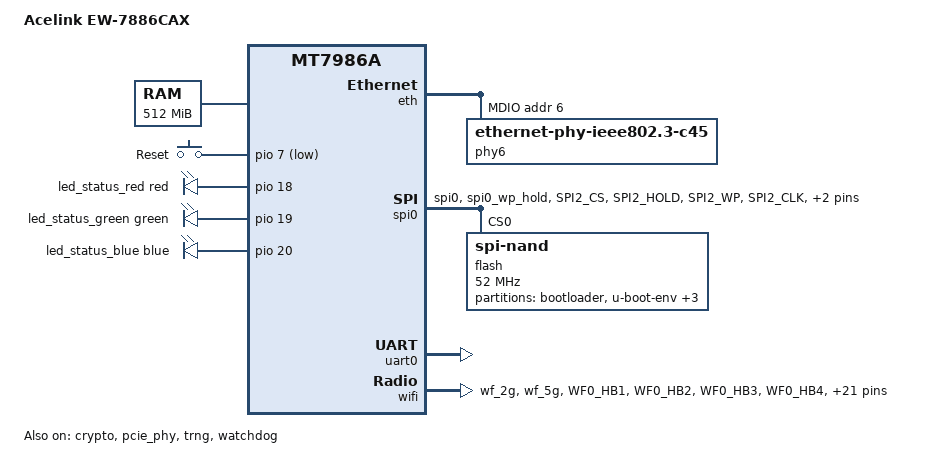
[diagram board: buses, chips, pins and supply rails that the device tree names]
// SPDX-License-Identifier: GPL-2.0-only OR MIT

/dts-v1/;
#include <dt-bindings/input/input.h>
#include <dt-bindings/gpio/gpio.h>
#include <dt-bindings/leds/common.h>

#include "mt7986a.dtsi"

/ {
	compatible = "acelink,ew-7886cax", "mediatek,mt7986a";
	model = "Acelink EW-7886CAX";

	aliases {
		serial0 = &uart0;
		led-boot = &led_status_blue;
		led-running = &led_status_green;
		led-upgrade = &led_status_red;
		led-failsafe = &led_status_red;
	};

	chosen {
		stdout-path = "serial0:115200n8";
	};

	memory@40000000 {
		reg = <0 0x40000000 0 0x20000000>;
		device_type = "memory";
	};

	keys {
		compatible = "gpio-keys";

		key-restart {
			label = "Reset";
			gpios = <&pio 7 GPIO_ACTIVE_LOW>;
			linux,code = <KEY_RESTART>;
		};
	};

	leds {
		compatible = "gpio-leds";

		led_status_red: led-0 {
			function = LED_FUNCTION_STATUS;
			color = <LED_COLOR_ID_RED>;
			gpios = <&pio 18 GPIO_ACTIVE_HIGH>;
		};

		led_status_green: led-1 {
			function = LED_FUNCTION_STATUS;
			color = <LED_COLOR_ID_GREEN>;
			gpios = <&pio 19 GPIO_ACTIVE_HIGH>;
		};

		led_status_blue: led-2 {
			function = LED_FUNCTION_STATUS;
			color = <LED_COLOR_ID_BLUE>;
			gpios = <&pio 20 GPIO_ACTIVE_HIGH>;
		};
	};
};

&crypto {
	status = "okay";
};

&eth {
	status = "okay";

	mac@1 {
		compatible = "mediatek,eth-mac";
		reg = <1>;
		phy-mode = "2500base-x";
		phy-handle = <&phy6>;
		nvmem-cells = <&macaddr>;
		nvmem-cell-names = "mac-address";
	};

	mdio-bus {
		reset-gpios = <&pio 6 GPIO_ACTIVE_LOW>;
		reset-delay-us = <50000>;
		reset-post-delay-us = <20000>;
		#address-cells = <1>;
		#size-cells = <0>;

		/* Maxlinear GPY211C */
		phy6: phy@6 {
			compatible = "ethernet-phy-ieee802.3-c45";
			reg = <6>;
		};
	};
};

&pcie_phy {
	status = "okay";
};

&pio {
	spi_flash_pins: spi-flash-pins-33-to-38 {
		mux {
			function = "spi";
			groups = "spi0", "spi0_wp_hold";
		};
		conf-pu {
			pins = "SPI2_CS", "SPI2_HOLD", "SPI2_WP";
			drive-strength = <8>;
			mediatek,pull-up-adv = <0>; /* bias-disable */
		};
		conf-pd {
			pins = "SPI2_CLK", "SPI2_MOSI", "SPI2_MISO";
			drive-strength = <8>;
			mediatek,pull-down-adv = <0>; /* bias-disable */
		};
	};

	wf_2g_5g_pins: wf_2g_5g-pins {
		mux {
			function = "wifi";
			groups = "wf_2g", "wf_5g";
		};
		conf {
			pins = "WF0_HB1", "WF0_HB2", "WF0_HB3", "WF0_HB4",
			       "WF0_HB0", "WF0_HB0_B", "WF0_HB5", "WF0_HB6",
			       "WF0_HB7", "WF0_HB8", "WF0_HB9", "WF0_HB10",
			       "WF0_TOP_CLK", "WF0_TOP_DATA", "WF1_HB1",
			       "WF1_HB2", "WF1_HB3", "WF1_HB4", "WF1_HB0",
			       "WF1_HB5", "WF1_HB6", "WF1_HB7", "WF1_HB8",
			       "WF1_TOP_CLK", "WF1_TOP_DATA";
			drive-strength = <4>;
		};
	};

	wf_dbdc_pins: wf-dbdc-pins {
		mux {
			function = "wifi";
			groups = "wf_dbdc";
		};
		conf {
			pins = "WF0_HB1", "WF0_HB2", "WF0_HB3", "WF0_HB4",
				"WF0_HB0", "WF0_HB0_B", "WF0_HB5", "WF0_HB6",
				"WF0_HB7", "WF0_HB8", "WF0_HB9", "WF0_HB10",
				"WF0_TOP_CLK", "WF0_TOP_DATA", "WF1_HB1",
				"WF1_HB2", "WF1_HB3", "WF1_HB4", "WF1_HB0",
				"WF1_HB5", "WF1_HB6", "WF1_HB7", "WF1_HB8",
				"WF1_TOP_CLK", "WF1_TOP_DATA";
			drive-strength = <4>;
		};
	};
};

&spi0 {
	pinctrl-names = "default";
	pinctrl-0 = <&spi_flash_pins>;
	status = "okay";

	flash@0 {
		compatible = "spi-nand";
		reg = <0>;
		#address-cells = <1>;
		#size-cells = <1>;
		spi-max-frequency = <52000000>;
		spi-rx-bus-width = <4>;
		spi-tx-bus-width = <4>;
		mediatek,nmbm;
		mediatek,bmt-max-ratio = <1>;
		mediatek,bmt-max-reserved-blocks = <64>;

		partitions {
			compatible = "fixed-partitions";
			#address-cells = <1>;
			#size-cells = <1>;

			partition@0 {
				reg = <0x0 0x100000>;
				label = "bootloader";
				read-only;
			};

			partition@100000 {
				reg = <0x100000 0x80000>;
				label = "u-boot-env";
			};

			partition@180000 {
				compatible = "nvmem-cells";
				reg = <0x180000 0x200000>;
				label = "factory";
				read-only;

				nvmem-layout {
					compatible = "fixed-layout";
					#address-cells = <1>;
					#size-cells = <1>;

					eeprom: eeprom@0 {
						reg = <0x0 0x1000>;
					};

					macaddr: macaddr@4 {
						reg = <0x4 0x6>;
					};
				};
			};

			partition@380000 {
				reg = <0x380000 0x200000>;
				label = "fip";
			};

			partition@580000 {
				reg = <0x580000 0x4000000>;
				label = "ubi";
			};
		};
	};
};

&trng {
	status = "okay";
};

&uart0 {
	status = "okay";
};

&watchdog {
	status = "okay";
};

&wifi {
	pinctrl-names = "default", "dbdc";
	pinctrl-0 = <&wf_2g_5g_pins>;
	pinctrl-1 = <&wf_dbdc_pins>;
	nvmem-cells = <&eeprom>;
	nvmem-cell-names = "eeprom";
	status = "okay";
};
